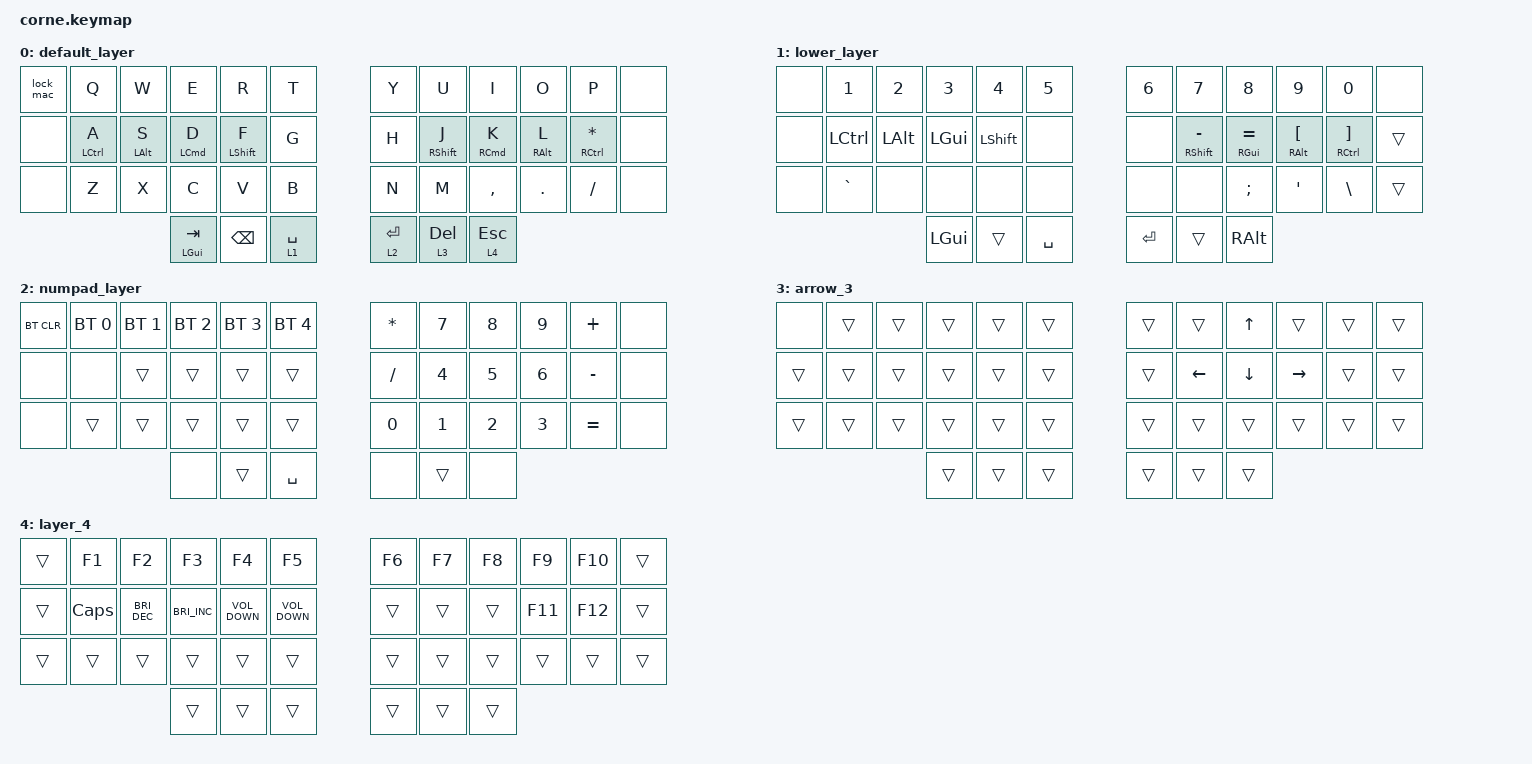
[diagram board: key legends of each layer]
/*
 * Copyright (c) 2020 The ZMK Contributors
 *
 * SPDX-License-Identifier: MIT
 */

#include <behaviors.dtsi>
#include <dt-bindings/zmk/bt.h>
#include <dt-bindings/zmk/keys.h>

/ {
    combos { compatible = "zmk,combos"; };

    macros {
        lock_mac: new_macro {
            compatible = "zmk,behavior-macro";
            #binding-cells = <0>;
            bindings = <&kp LG(LEFT_COMMAND) &kp LEFT_CONTROL &kp Q>;
            label = "NEW_MACRO";
        };
    };

    keymap {
        compatible = "zmk,keymap";

        default_layer {
            // -----------------------------------------------------------------------------------------
            // |  TAB |  Q  |  W  |  E  |  R  |  T  |   |  Y  |  U   |  I  |  O  |  P  | BKSP |
            // | CTRL |  A  |  S  |  D  |  F  |  G  |   |  H  |  J   |  K  |  L  |  ;  |  '   |
            // | SHFT |  Z  |  X  |  C  |  V  |  B  |   |  N  |  M   |  ,  |  .  |  /  | ESC  |
            //                    | GUI | LWR | SPC |   | ENT | RSE  | ALT |

            bindings = <
&lock_mac  &kp Q               &kp W           &kp E               &kp R             &kp T          &kp Y        &kp U              &kp I                &kp O            &kp P                       &none
&none      &mt LEFT_CONTROL A  &mt LEFT_ALT S  &mt LEFT_COMMAND D  &mt LEFT_SHIFT F  &kp G          &kp H        &mt RIGHT_SHIFT J  &mt RIGHT_COMMAND K  &mt RIGHT_ALT L  &mt RIGHT_CONTROL ASTERISK  &none
&none      &kp Z               &kp X           &kp C               &kp V             &kp B          &kp N        &kp M              &kp COMMA            &kp DOT          &kp SLASH                   &none
                                               &mt LEFT_GUI TAB    &kp BACKSPACE     &lt 1 SPACE    &lt 2 ENTER  &lt 3 DELETE       &lt 4 ESCAPE
            >;
        };

        lower_layer {
            // -----------------------------------------------------------------------------------------
            // |  TAB |  1  |  2  |  3  |  4  |  5  |   |  6  |  7  |  8  |  9  |  0  | BKSP |
            // | BTCLR| BT1 | BT2 | BT3 | BT4 | BT5 |   | LFT | DWN |  UP | RGT |     |      |
            // | SHFT |     |     |     |     |     |   |     |     |     |     |     |      |
            //                    | GUI |     | SPC |   | ENT |     | ALT |

            bindings = <
&none  &kp NUMBER_1  &kp NUMBER_2  &kp NUMBER_3  &kp NUMBER_4  &kp N5       &kp NUMBER_6  &kp N7           &kp N8          &kp N9                 &kp N0                   &none
&none  &kp LCTRL     &kp LALT      &kp LGUI      &kp LSHFT     &none        &none         &mt RSHFT MINUS  &mt RGUI EQUAL  &mt RALT LEFT_BRACKET  &mt RCTRL RIGHT_BRACKET  &trans
&none  &kp GRAVE     &none         &none         &none         &none        &none         &none            &kp SEMICOLON   &kp SQT                &kp BACKSLASH            &trans
                                   &kp LGUI      &trans        &kp SPACE    &kp RET       &trans           &kp RALT
            >;
        };

        numpad_layer {
            // -----------------------------------------------------------------------------------------
            // |  TAB |  !  |  @  |  #  |  $  |  %  |   |  ^  |  &  |  *  |  (  |  )  | BKSP |
            // | CTRL |     |     |     |     |     |   |  -  |  =  |  [  |  ]  |  \  |  `   |
            // | SHFT |     |     |     |     |     |   |  _  |  +  |  {  |  }  | "|" |  ~   |
            //                    | GUI |     | SPC |   | ENT |     | ALT |

            bindings = <
&bt BT_CLR  &bt BT_SEL 0  &bt BT_SEL 1  &bt BT_SEL 2  &bt BT_SEL 3  &bt BT_SEL 4    &kp ASTERISK  &kp N7        &kp N8        &kp N9        &kp PLUS   &none
&none       &none         &trans        &trans        &trans        &trans          &kp SLASH     &kp NUMBER_4  &kp N5        &kp NUMBER_6  &kp MINUS  &none
&none       &trans        &trans        &trans        &trans        &trans          &kp NUMBER_0  &kp NUMBER_1  &kp NUMBER_2  &kp NUMBER_3  &kp EQUAL  &none
                                        &none         &trans        &kp SPACE       &none         &trans        &none
            >;
        };

        arrow_3 {
            bindings = <
&none   &trans  &trans  &trans  &trans  &trans    &trans  &trans    &kp UP_ARROW    &trans     &trans  &trans
&trans  &trans  &trans  &trans  &trans  &trans    &trans  &kp LEFT  &kp DOWN_ARROW  &kp RIGHT  &trans  &trans
&trans  &trans  &trans  &trans  &trans  &trans    &trans  &trans    &trans          &trans     &trans  &trans
                        &trans  &trans  &trans    &trans  &trans    &trans
            >;
        };

        layer_4 {
            bindings = <
&trans  &kp F1    &kp F2                &kp F3                &kp F4             &kp F5               &kp F6  &kp F7  &kp F8  &kp F9   &kp F10  &trans
&trans  &kp CAPS  &kp C_BRIGHTNESS_DEC  &kp C_BRIGHTNESS_INC  &kp C_VOLUME_DOWN  &kp C_VOLUME_DOWN    &trans  &trans  &trans  &kp F11  &kp F12  &trans
&trans  &trans    &trans                &trans                &trans             &trans               &trans  &trans  &trans  &trans   &trans   &trans
                                        &trans                &trans             &trans               &trans  &trans  &trans
            >;
        };
    };
};
